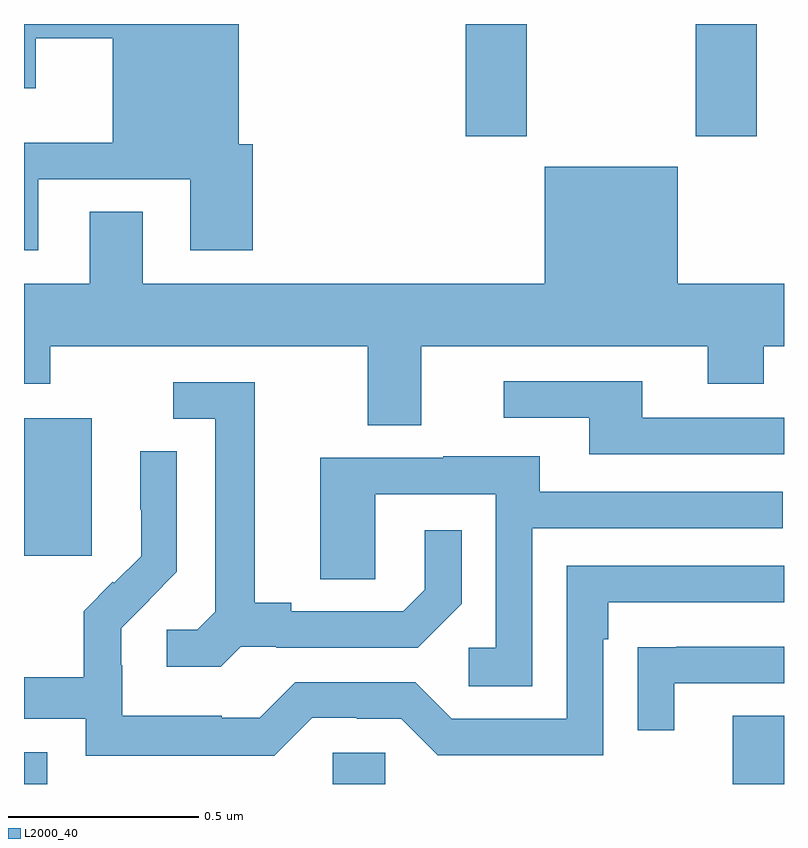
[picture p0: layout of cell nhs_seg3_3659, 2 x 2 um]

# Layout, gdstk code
import gdstk
lib = gdstk.Library(unit=1e-6, precision=1e-09)
def R(c, l, rs):  # rectangles x0, y0, x1, y1
    for r in rs: c.add(gdstk.rectangle(r[:2], r[2:], *l))
def P(c, l, *ps):  # polygons
    for p in ps: c.add(gdstk.Polygon(p, *l))
L2000_40 = (2000, 40)

nhs_seg3_3659 = lib.new_cell('nhs_seg3_3659')
R(nhs_seg3_3659, L2000_40, [(156,730.4,156.061,730.483), (156.813,730.4,156.951,730.482), (157.865,730.4,158,730.579), (156,731.001,156.178,731.362), (157.163,732.105,157.323,732.4), (157.768,732.105,157.928,732.4)])
P(nhs_seg3_3659, L2000_40, [(156.037,731.991),(156.437,731.991),(156.437,731.805),(156.602,731.805),(156.602,732.084),(156.565,732.084),(156.565,732.4),(156,732.4),(156,732.231),(156.031,732.231),(156.031,732.362),(156.233,732.362),(156.233,732.088),(156,732.088),(156,731.805),(156.037,731.805)],
  [(157.045,731.552),(157.799,731.552),(157.799,731.453),(157.947,731.453),(157.947,731.552),(158,731.552),(158,731.716),(157.72,731.716),(157.72,732.025),(157.37,732.025),(157.37,731.716),(156.313,731.716),(156.313,731.906),(156.173,731.906),(156.173,731.716),(156,731.716),(156,731.453),(156.069,731.453),(156.069,731.552),(156.905,731.552),(156.905,731.344),(157.045,731.344)],
  [(158,731.364),(157.627,731.364),(157.627,731.46),(157.263,731.46),(157.263,731.364),(157.487,731.364),(157.487,731.268),(158,731.268)],
  [(156.57,730.761),(156.664,730.761),(156.664,730.758),(157.036,730.758),(157.152,730.874),(157.152,731.068),(157.055,731.068),(157.055,730.911),(156.998,730.854),(156.703,730.854),(156.703,730.877),(156.607,730.877),(156.607,731.457),(156.393,731.457),(156.393,731.361),(156.503,731.361),(156.503,730.853),(156.456,730.806),(156.375,730.806),(156.375,730.709),(156.518,730.709)],
  [(156.759,730.575),(156.875,730.575),(156.875,730.572),(156.993,730.572),(157.089,730.476),(157.524,730.476),(157.524,730.781),(157.537,730.781),(157.537,730.878),(158,730.878),(158,730.974),(157.428,730.974),(157.428,730.572),(157.125,730.572),(157.029,730.668),(156.714,730.668),(156.621,730.575),(156.521,730.575),(156.521,730.579),(156.258,730.579),(156.258,730.713),(156.256,730.713),(156.256,730.81),(156.33,730.884),(156.329,730.885),(156.402,730.958),(156.402,731.276),(156.306,731.276),(156.306,731.122),(156.308,731.122),(156.308,731),(156.237,730.929),(156.234,730.932),(156.157,730.855),(156.157,730.681),(156,730.681),(156,730.572),(156.162,730.572),(156.162,730.475),(156.659,730.475)],
  [(157.338,731.073),(157.997,731.073),(157.997,731.169),(157.357,731.169),(157.357,731.263),(157.103,731.263),(157.103,731.259),(156.779,731.259),(156.779,730.939),(156.924,730.939),(156.924,731.163),(157.242,731.163),(157.242,730.758),(157.17,730.758),(157.17,730.657),(157.338,730.657)],
  [(157.711,730.665),(158,730.665),(158,730.761),(157.717,730.761),(157.717,730.76),(157.615,730.76),(157.615,730.542),(157.711,730.542)])

lib.write_gds('nhs_seg3_3659.gds')
